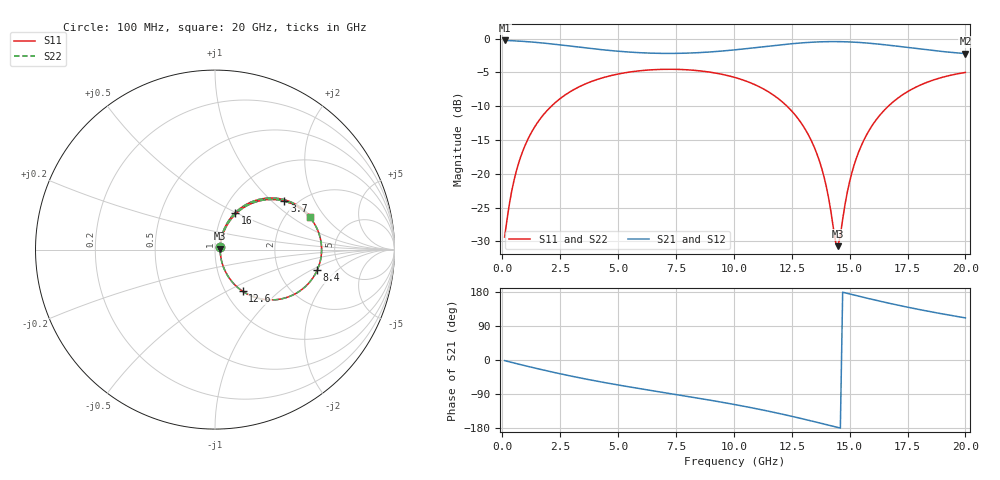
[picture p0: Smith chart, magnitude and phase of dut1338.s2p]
! Touchstone file exported from HFSS 2026.1.0
!  File:  C:/ffzhzh/LocalFiles/Ansys_Project_Files/temp_train_TSV_RDL_1338_1783338871_38820.aedt
!  Generated:  08:04:21 PM Jul  6, 2026
!  Design:  TSV_RDL
!  Project:  temp_train_TSV_RDL_1338_1783338871_38820
! Variables:
!  h_bsmrdl = 2.36um
!  h_ox = 20um
!  h_rdl = 5um
!  h_sub = 60.71um
!  h_tmrdl = 3.56um
!  h_tsv = 60.71um
!  h_via = 3um
!  l_bsmrdl = 751.1um
!  l_sub = 4192.86um
!  l_tmrdl = 360.14um
!  m_sub = 200um
!  pitch = 48.28um
!  r_tsv = 12.16um
!  s_tmrdl = 10um
!  w_bsmrdl = 16.5um
!  w_sub = 500um
!  w_tmrdl = 16.5um
!  x_tsv_center1 = 368.39um
!  x_tsv_center2 = 1135.99um
!  x_tsv_center3 = 1512.63um
!  x_tsv_center4 = 2280.23um
!  x_tsv_center5 = 2656.87um
!  x_tsv_center6 = 3424.47um
# GHz S MA R 50.000000
! Terminal data exported
! Port[1] = TM_RDL1_1_T1
! Port[2] = TM_RDL5_1_T1
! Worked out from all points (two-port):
!   200 points, 100 MHz to 20 GHz, reference 50 ohm
!   highest |S21| = -0.26 dB at 100 MHz (marker M1); lowest = -2.2 dB at 20 GHz (marker M2)
!   |S21| within 3 dB of the highest: start of sweep to end of sweep
!   lowest |S11| = -30.7 dB at 14.5 GHz (marker M3), VSWR 1.06, Z = 53 + j0.485 ohm
!   |S11| at or under -10 dB: start of sweep to 2.117 GHz; 12.3 GHz to 16.67 GHz (4.369 GHz wide, 30.2 % of centre)
!   |S22| runs from -30.8 to -4.5 dB; largest |S21 - S12| = 1.8e-14
!   S11 on the Smith chart (normalised r, x): 100 MHz: 1.06, +0.04; 3.7 GHz: 1.73, +1.20; 8.4 GHz: 3.35, -1.14; 12.6 GHz: 1.20, -0.60; 16 GHz: 1.14, +0.49; 20 GHz: 2.71, +1.45
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0.1  0.03402 29.1  0.9706 -1.6  0.9706 -1.6  0.03402 29.1
! Gamma 0 0 0 0
! Port Impedance 50 0 50 0
0.3  0.05881 54.4  0.9683 -4.8  0.9683 -4.8  0.05882 54.4
0.6  0.1038 63.3  0.9625 -9.4  0.9625 -9.4  0.1038 63.3
1.2  0.194 62.1  0.9473 -18.3  0.9473 -18.3  0.194 62.1
2.2  0.3263 51.8  0.9121 -32.4  0.9121 -32.4  0.3263 51.8
3.5  0.4556 37.1  0.8588 -49.0  0.8588 -49.0  0.4556 37.1
3.7  0.4712 35.0  0.851 -51.4  0.851 -51.4  0.4713 34.9
6.8  0.5924 4.0  0.779 -84.2  0.779 -84.2  0.5924 4.0
8.4  0.5811 -11.2  0.7872 -100.1  0.7872 -100.1  0.5812 -11.2
10.1  0.5133 -28.3  0.8289 -118.2  0.8289 -118.2  0.5133 -28.4
11.5  0.4038 -43.8  0.8806 -135.1  0.8806 -135.1  0.4038 -43.9
12.6  0.2785 -56.4  0.9211 -150.0  0.9211 -150.0  0.2786 -56.5
13.4  0.168 -63.8  0.9426 -161.6  0.9426 -161.6  0.168 -63.9
13.9  0.09411 -63.1  0.95 -169.1  0.95 -169.1  0.09406 -63.3
14.4  0.03091 -19.7  0.9519 -176.6  0.9519 -176.6  0.0306 -20.1
14.5  0.02912 9.0  0.9515 -178.1  0.9515 -178.1  0.02876 9.0
15.1  0.1022 65.1  0.9447 172.8  0.9447 172.8  0.102 65.2
15.5  0.1609 65.3  0.9359 166.8  0.9359 166.8  0.1608 65.4
16  0.2312 61.4  0.9209 159.6  0.9209 159.6  0.2311 61.5
16.7  0.3201 54.0  0.8947 149.8  0.8947 149.8  0.32 54.0
18.2  0.4652 37.3  0.833 130.9  0.833 130.9  0.4651 37.3
20  0.5625 18.9  0.7763 111.1  0.7763 111.1  0.5625 18.9
